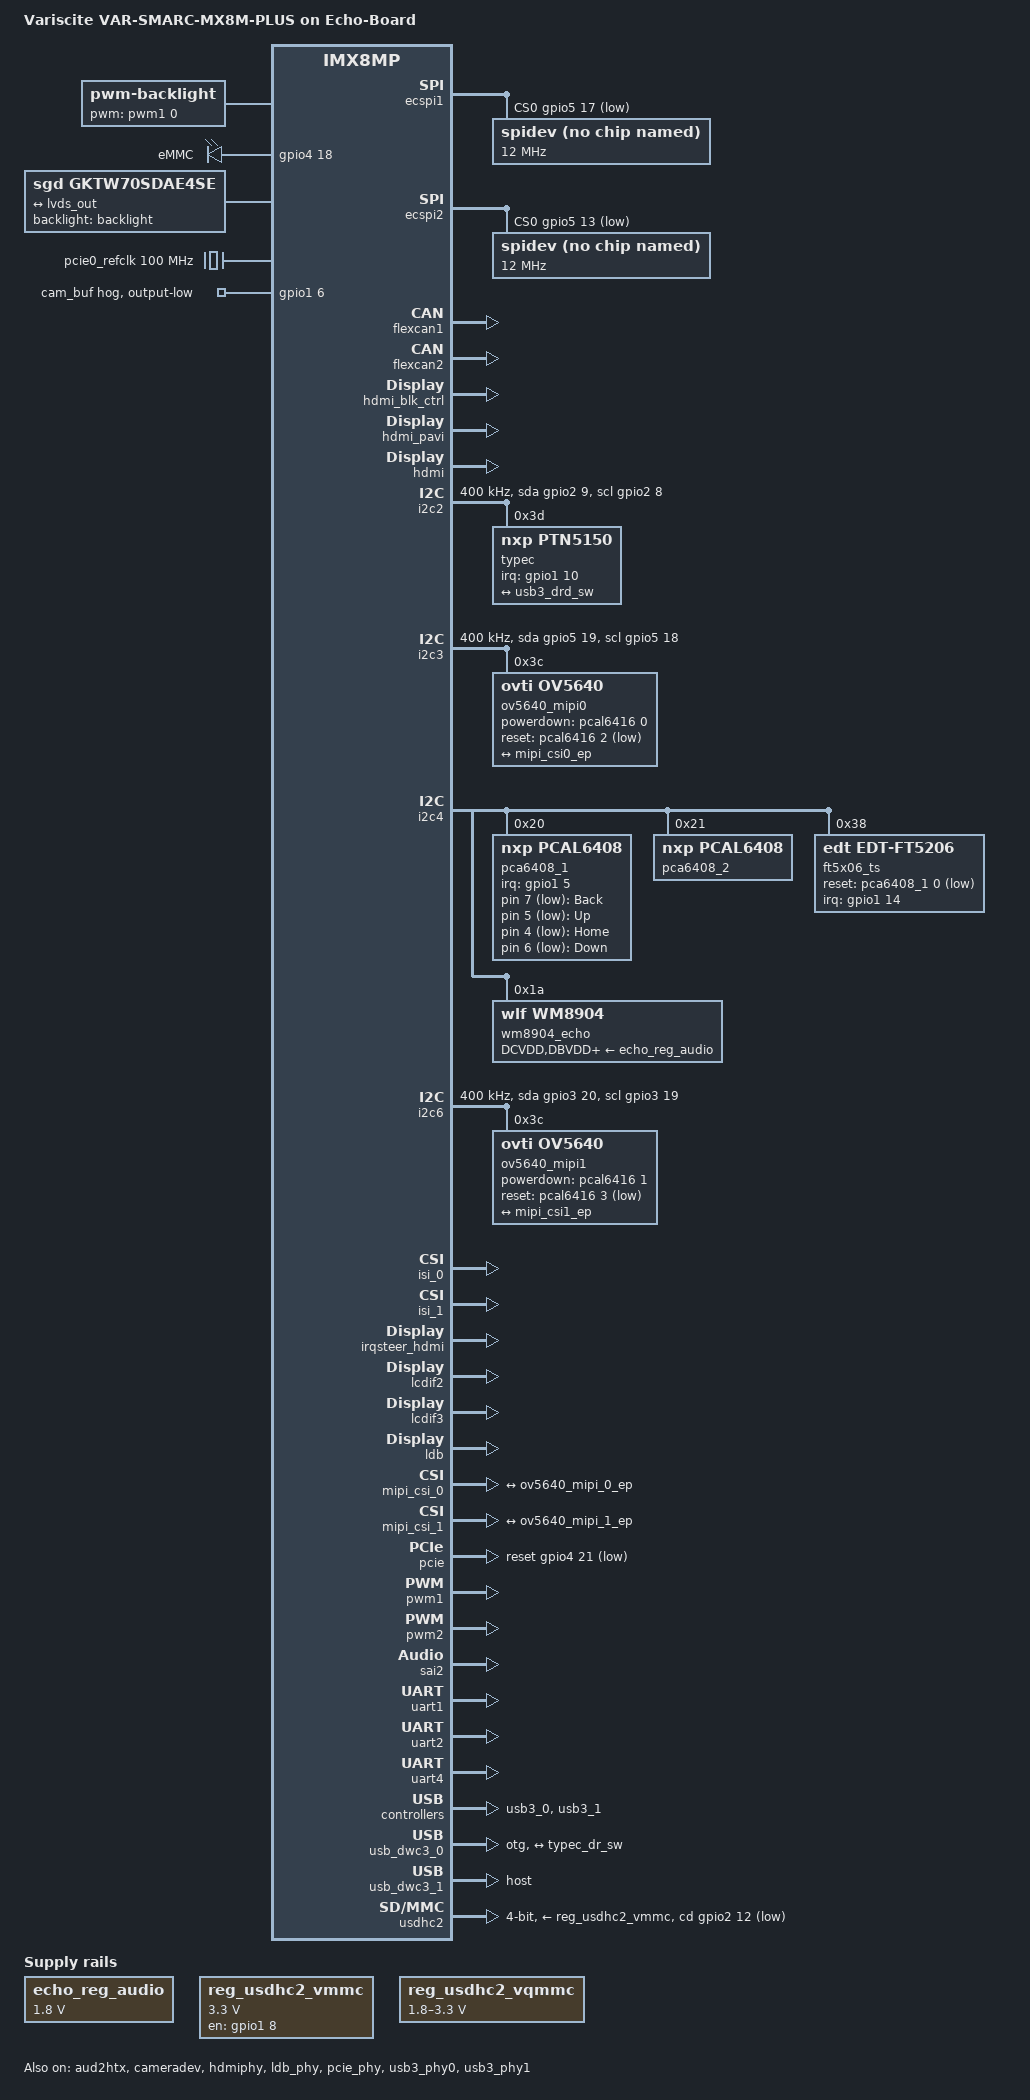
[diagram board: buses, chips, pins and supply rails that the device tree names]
// SPDX-License-Identifier: (GPL-2.0+ OR MIT)
/*
 * Copyright 2019 NXP
 * Copyright 2020-2026 Variscite Ltd.
 */

#include "imx8mp-var-smarc.dtsi"

/ {
	model = "Variscite VAR-SMARC-MX8M-PLUS on Echo-Board";

	chosen {
		stdout-path = &uart2;
	};

	backlight: backlight {
		compatible = "pwm-backlight";
		pwms = <&pwm1 0 1000000 0>;
		status = "okay";

		brightness-levels = < 0  1  2  3  4  5  6  7  8  9
				     10 11 12 13 14 15 16 17 18 19
				     20 21 22 23 24 25 26 27 28 29
				     30 31 32 33 34 35 36 37 38 39
				     40 41 42 43 44 45 46 47 48 49
				     50 51 52 53 54 55 56 57 58 59
				     60 61 62 63 64 65 66 67 68 69
				     70 71 72 73 74 75 76 77 78 79
				     80 81 82 83 84 85 86 87 88 89
				     90 91 92 93 94 95 96 97 98 99
				    100>;
		default-brightness-level = <80>;
	};

	echo_reg_audio: echo-regulator-audio-vdd {
		compatible = "regulator-fixed";
		regulator-name = "wm8904_echo_supply";
		regulator-min-microvolt = <1800000>;
		regulator-max-microvolt = <1800000>;
		regulator-always-on;
	};

	sound-wm8904-echo {
		compatible = "simple-audio-card";
		simple-audio-card,bitclock-master = <&echo_dailink_master>;
		simple-audio-card,format = "i2s";
		simple-audio-card,frame-master = <&echo_dailink_master>;
		simple-audio-card,name = "wm8904-ech-audio";
		simple-audio-card,routing =
			"Headphone Jack", "HPOUTL",
			"Headphone Jack", "HPOUTR",
			"IN2L", "Line In Jack",
			"IN2R", "Line In Jack",
			"IN1L", "Microphone Jack",
			"IN1R", "Microphone Jack";
		simple-audio-card,widgets =
			"Microphone", "Microphone Jack",
			"Headphone", "Headphone Jack",
			"Line", "Line In Jack";
		simple-audio-card,mclk-fs = <256>;

		echo_dailink_master: simple-audio-card,codec {
			sound-dai = <&wm8904_echo>;
		};

		simple-audio-card,cpu {
			sound-dai = <&sai2>;
		};
	};

	gpio-leds {
		compatible = "gpio-leds";
		pinctrl-names = "default";
		pinctrl-0 = <&pinctrl_gpio_leds>;
		status = "okay";

		emmc {
			label = "eMMC";
			gpios = <&gpio4 18 GPIO_ACTIVE_HIGH>;
			linux,default-trigger = "mmc2";
		};
	};

	gpio-keys {
		compatible = "gpio-keys";
		status = "okay";

		back {
			label = "Back";
			linux,code = <KEY_BACK>;
			gpios = <&pca6408_1 7 GPIO_ACTIVE_LOW>;
			wakeup-source;
		};

		up {
			label = "Up";
			linux,code = <KEY_UP>;
			gpios = <&pca6408_1 5 GPIO_ACTIVE_LOW>;
			wakeup-source;
		};

		home {
			label = "Home";
			linux,code = <KEY_HOME>;
			gpios = <&pca6408_1 4 GPIO_ACTIVE_LOW>;
			wakeup-source;
		};

		down {
			label = "Down";
			linux,code = <KEY_DOWN>;
			gpios = <&pca6408_1 6 GPIO_ACTIVE_LOW>;
			wakeup-source;
		};
	};

	panel {
		compatible = "sgd,gktw70sdae4se", "panel-lvds";
		backlight = <&backlight>;
		width-mm = <153>;
		height-mm = <87>;
		label = "gktw70sdae4se";
		data-mapping = "jeida-24";
		status = "okay";

		panel-timing {
			clock-frequency = <33000000>;
			hactive = <800>;
			vactive = <480>;
			hback-porch = <40>;
			hfront-porch = <40>;
			vback-porch = <29>;
			vfront-porch = <13>;
			hsync-len = <48>;
			vsync-len = <3>;
			hsync-active = <0>;
			vsync-active = <0>;
			de-active = <1>;
		};

		port {
			panel_in: endpoint {
				remote-endpoint = <&lvds_out>;
			};
		};
	};

	pcie0_refclk: pcie0-refclk {
		compatible = "fixed-clock";
		#clock-cells = <0>;
		clock-frequency = <100000000>;
	};

	reg_usdhc2_vmmc: regulator-usdhc2-vmmc {
		compatible = "regulator-fixed";
		regulator-name = "VSD_3V3";
		regulator-min-microvolt = <3300000>;
		regulator-max-microvolt = <3300000>;
		gpio = <&gpio1 8 GPIO_ACTIVE_HIGH>;
		enable-active-high;
		startup-delay-us = <100>;
		off-on-delay-us = <12000>;
	};

	reg_usdhc2_vqmmc: regulator-usdhc2-vqmmc {
		compatible = "regulator-gpio";
		regulator-name = "VSD_VSEL";
		regulator-min-microvolt = <1800000>;
		regulator-max-microvolt = <3300000>;
		gpio = <&gpio1 4 GPIO_ACTIVE_HIGH>;
		gpios-states = <1>;
		states = <3300000 0
			  1800000 1>;
	};

	sound_hdmi: sound_hdmi {
		compatible = "fsl,imx-audio-hdmi";
		model = "audio-hdmi";
		audio-cpu = <&aud2htx>;
		hdmi-out;
		constraint-rate = <44100>,
				<88200>,
				<176400>,
				<32000>,
				<48000>,
				<96000>,
				<192000>;
		status = "okay";
	};
};

&aud2htx {
	status = "okay";
};

&cameradev {
	status = "okay";
};

&ecspi1 {
	pinctrl-names = "default";
	pinctrl-0 = <&pinctrl_ecspi1>;
	cs-gpios = <&gpio5 17 GPIO_ACTIVE_LOW>;
	status = "okay";

	spidev@0 {
		compatible = "var,spidev";
		reg = <0>;
		spi-max-frequency = <12000000>;
		status = "okay";
	};
};

&ecspi2 {
	pinctrl-names = "default";
	pinctrl-0 = <&pinctrl_ecspi2>;
	cs-gpios = <&gpio5 13 GPIO_ACTIVE_LOW>;
	status = "okay";

	spidev@0 {
		compatible = "var,spidev";
		reg = <0>;
		spi-max-frequency = <12000000>;
		status = "okay";
	};
};

&gpio1 {
	cam_buf_hog {
		gpio-hog;
		gpios = <6 0>;
		output-low;
		line-name = "cam_buf";
	};
};

&flexcan1 {
	pinctrl-names = "default";
	pinctrl-0 = <&pinctrl_flexcan1>;
	status = "okay";
};

&flexcan2 {
	pinctrl-names = "default";
	pinctrl-0 = <&pinctrl_flexcan2>;
	status = "okay";
};

&flexspi {
	pinctrl-names = "default";
	pinctrl-0 = <&pinctrl_flexspi0>;
	status = "disabled";
};

&hdmi_blk_ctrl {
	status = "okay";
};

&hdmi_pavi {
	status = "okay";
};

&hdmi {
	status = "okay";
};

&hdmiphy {
	status = "okay";
};

&i2c2 {
	clock-frequency = <400000>;
	pinctrl-names = "default", "gpio";
	pinctrl-0 = <&pinctrl_i2c2>;
	pinctrl-1 = <&pinctrl_i2c2_gpio>;
	scl-gpios = <&gpio2 8 GPIO_ACTIVE_HIGH>;
	sda-gpios = <&gpio2 9 GPIO_ACTIVE_HIGH>;
	status = "okay";

	/* USB Type-C Controller */
	typec@3d {
		compatible = "nxp,ptn5150";
		pinctrl-names = "default";
		pinctrl-0 = <&pinctrl_extcon>;
		reg = <0x3d>;
		interrupt-parent = <&gpio1>;
		interrupts = <10 IRQ_TYPE_LEVEL_HIGH>;
		irq-is-id-quirk;
		status ="okay";

		port {
			typec_dr_sw: endpoint {
				remote-endpoint = <&usb3_drd_sw>;
			};
		};
	};
};

&i2c3 {
	clock-frequency = <400000>;
	pinctrl-names = "default", "gpio";
	pinctrl-0 = <&pinctrl_i2c3>;
	pinctrl-1 = <&pinctrl_i2c3_gpio>;
	scl-gpios = <&gpio5 18 GPIO_ACTIVE_HIGH>;
	sda-gpios = <&gpio5 19 GPIO_ACTIVE_HIGH>;
	status = "okay";

	ov5640_mipi0: ov5640_mipi@3c {
		compatible = "ovti,ov5640";
		reg = <0x3c>;
		clocks = <&clk IMX8MP_CLK_IPP_DO_CLKO2>;
		clock-names = "xclk";
/* Disabled CLKO2, since DART-MX8MP camera expansion board uses
 * its own oscillator. Enable CLK02 if your desing requres it
 */
#if 0
		assigned-clocks = <&clk IMX8MP_CLK_IPP_DO_CLKO2>;
		assigned-clock-parents = <&clk IMX8MP_CLK_24M>;
#endif
		assigned-clock-rates = <24000000>;
		powerdown-gpios = <&pcal6416 0 GPIO_ACTIVE_HIGH>;
		reset-gpios = <&pcal6416 2 GPIO_ACTIVE_LOW>;
		status = "okay";

		port {
			ov5640_mipi_0_ep: endpoint {
				remote-endpoint = <&mipi_csi0_ep>;
				data-lanes = <1 2>;
				clock-lanes = <0>;
			};
		};
	};
};

&i2c4 {
	pca6408_1: gpio@20 {
		compatible = "nxp,pcal6408";
		standard-regs-fallback;
		reg = <0x20>;
		gpio-controller;
		#gpio-cells = <2>;
		pinctrl-names = "default";
		pinctrl-0 = <&pinctrl_pca6408>;
		interrupt-parent = <&gpio1>;
		interrupts = <5 IRQ_TYPE_EDGE_FALLING>;
	};

	pca6408_2: gpio@21 {
		compatible = "nxp,pcal6408";
		standard-regs-fallback;
		reg = <0x21>;
		gpio-controller;
		#gpio-cells = <2>;
	};

	/* Capacitive touch controller */
	ft5x06_ts: ft5x06_ts@38 {
		compatible = "edt,edt-ft5206";
		reg = <0x38>;
		pinctrl-names = "default";
		pinctrl-0 = <&pinctrl_captouch>;
		reset-gpios = <&pca6408_1 0 GPIO_ACTIVE_LOW>;
		interrupt-parent = <&gpio1>;
		interrupts = <14 IRQ_TYPE_EDGE_FALLING>;
		touchscreen-size-x = <800>;
		touchscreen-size-y = <480>;
		touchscreen-inverted-x;
		touchscreen-inverted-y;
		wakeup-source;
		status = "okay";
	};

	wm8904_echo: codec@1a {
		compatible = "wlf,wm8904";
		#sound-dai-cells = <0>;
		reg = <0x1a>;
		clocks = <&audio_blk_ctrl IMX8MP_CLK_AUDIOMIX_SAI2_MCLK1>;
		clock-names = "mclk";
		DCVDD-supply = <&echo_reg_audio>;
		DBVDD-supply = <&echo_reg_audio>;
		AVDD-supply = <&echo_reg_audio>;
		CPVDD-supply = <&echo_reg_audio>;
		MICVDD-supply = <&echo_reg_audio>;
		num-drc-cfgs = <5>;
		drc-cfg-names = "default", "peaklimiter", "tradition", "soft", "music";
		drc-cfg-regs =
				/* coded default: KNEE_IP = KNEE_OP = 0, HI_COMP = LO_COMP = 1  */
				<0x01af 0x3248 0x0000 0x0000>,
				/* coded default: KNEE_IP = -24, KNEE_OP = -6, HI_COMP = 1/4, LO_COMP = 1 */
				<0x04af 0x324b 0x0010 0x0408>,
				/* coded default: KNEE_IP = -42, KNEE_OP = -3, HI_COMP = 0, LO_COMP = 1 */
				<0x04af 0x324b 0x0028 0x0704>,
				/* coded default: KNEE_IP = -45, KNEE_OP = -9, HI_COMP = 1/8, LO_COMP = 1 */
				<0x04af 0x324b 0x0018 0x078c>,
				/* coded default: KNEE_IP = -30, KNEE_OP = -10.5, HI_COMP = 1/4, LO_COMP = 1 */
				<0x04af 0x324b 0x0010 0x050e>;
		gpio-cfg = <
			0x0018 /* GPIO1 => DMIC_CLK */
			0xffff /* GPIO2 => don't touch */
			0xffff /* GPIO3 => don't touch */
			0xffff /* GPIO4 => don't touch */
		>;
		status = "okay";
	};
};

&i2c6 {
	clock-frequency = <400000>;
	pinctrl-names = "default", "gpio";
	pinctrl-0 = <&pinctrl_i2c6>;
	pinctrl-1 = <&pinctrl_i2c6_gpio>;
	scl-gpios = <&gpio3 19 GPIO_ACTIVE_HIGH>;
	sda-gpios = <&gpio3 20 GPIO_ACTIVE_HIGH>;
	status = "okay";

	ov5640_mipi1: ov5640_mipi@3c {
		compatible = "ovti,ov5640";
		reg = <0x3c>;
		clocks = <&clk IMX8MP_CLK_IPP_DO_CLKO2>;
		clock-names = "xclk";
/* Disabled CLKO2, since DART-MX8MP camera expansion board uses
 * its own oscillator. Enable CLK02 if your desing requres it
 */
#if 0
		assigned-clocks = <&clk IMX8MP_CLK_IPP_DO_CLKO2>;
		assigned-clock-parents = <&clk IMX8MP_CLK_24M>;
#endif
		assigned-clock-rates = <24000000>;
		powerdown-gpios = <&pcal6416 1 GPIO_ACTIVE_HIGH>;
		reset-gpios = <&pcal6416 3 GPIO_ACTIVE_LOW>;
		status = "okay";

		port {
			ov5640_mipi_1_ep: endpoint {
				remote-endpoint = <&mipi_csi1_ep>;
				data-lanes = <1 2>;
				clock-lanes = <0>;
			};
		};
	};
};

&iomuxc {
	pinctrl-names = "default";
	pinctrl-0 = <&pinctrl_hog>;

	pinctrl_captouch: captouchgrp {
		fsl,pins = <
			MX8MP_IOMUXC_GPIO1_IO14__GPIO1_IO14				0x16
		>;
	};

	pinctrl_ecspi1: ecspi1grp {
		fsl,pins = <
			MX8MP_IOMUXC_I2C1_SCL__ECSPI1_SCLK				0x12
			MX8MP_IOMUXC_I2C1_SDA__ECSPI1_MOSI				0x12
			MX8MP_IOMUXC_I2C2_SCL__ECSPI1_MISO				0x12
			MX8MP_IOMUXC_I2C2_SDA__GPIO5_IO17				0x12
		>;
	};

	pinctrl_ecspi2: ecspi12grp {
		fsl,pins = <
			MX8MP_IOMUXC_ECSPI2_SCLK__ECSPI2_SCLK				0x12
			MX8MP_IOMUXC_ECSPI2_MOSI__ECSPI2_MOSI				0x12
			MX8MP_IOMUXC_ECSPI2_MISO__ECSPI2_MISO				0x12
			MX8MP_IOMUXC_ECSPI2_SS0__GPIO5_IO13				0x12
		>;
	};

	pinctrl_extcon: extcongrp {
		fsl,pins = <
			MX8MP_IOMUXC_GPIO1_IO10__GPIO1_IO10				0x10
		>;
	};

	pinctrl_flexcan2: flexcan2grp {
		fsl,pins = <
			MX8MP_IOMUXC_HDMI_CEC__CAN2_TX					0x154
			MX8MP_IOMUXC_SAI5_MCLK__CAN2_RX					0x154
		>;
	};

	pinctrl_flexcan1: flexcan1grp {
		fsl,pins = <
			MX8MP_IOMUXC_SPDIF_TX__CAN1_TX					0x154
			MX8MP_IOMUXC_SPDIF_RX__CAN1_RX					0x154
		>;
	};

	pinctrl_flexspi0: flexspi0grp {
		fsl,pins = <
			MX8MP_IOMUXC_NAND_ALE__FLEXSPI_A_SCLK				0x1c2
			MX8MP_IOMUXC_NAND_CE0_B__FLEXSPI_A_SS0_B			0x82
			MX8MP_IOMUXC_NAND_DATA00__FLEXSPI_A_DATA00			0x82
			MX8MP_IOMUXC_NAND_DATA01__FLEXSPI_A_DATA01			0x82
			MX8MP_IOMUXC_NAND_DATA02__FLEXSPI_A_DATA02			0x82
			MX8MP_IOMUXC_NAND_DATA03__FLEXSPI_A_DATA03			0x82
		>;
	};

	pinctrl_gpio_leds: ledgrp {
		fsl,pins = <
			MX8MP_IOMUXC_SAI1_TXD6__GPIO4_IO18				0xc6
		>;
	};

	pinctrl_hog: hoggrp {
		fsl,pins = <
			MX8MP_IOMUXC_HDMI_DDC_SCL__HDMIMIX_HDMI_SCL			0x400001c2
			MX8MP_IOMUXC_HDMI_DDC_SDA__HDMIMIX_HDMI_SDA			0x400001c2
			MX8MP_IOMUXC_HDMI_HPD__HDMIMIX_HDMI_HPD				0x40000010
		>;
	};

	pinctrl_i2c3: i2c3grp {
		fsl,pins = <
			MX8MP_IOMUXC_I2C3_SCL__I2C3_SCL					0x400001c2
			MX8MP_IOMUXC_I2C3_SDA__I2C3_SDA					0x400001c2
		>;
	};

	pinctrl_i2c6: i2c6grp {
		fsl,pins = <
			MX8MP_IOMUXC_SAI5_RXFS__I2C6_SCL				0x400001c2
			MX8MP_IOMUXC_SAI5_RXC__I2C6_SDA					0x400001c2
		>;
	};

	pinctrl_i2c2: i2c2grp {
		fsl,pins = <
			MX8MP_IOMUXC_SD1_DATA6__I2C2_SCL				0x400001c2
			MX8MP_IOMUXC_SD1_DATA7__I2C2_SDA				0x400001c2
		>;
	};

	pinctrl_i2c2_gpio: i2c2gpiogrp {
		fsl,pins = <
			MX8MP_IOMUXC_SD1_DATA6__GPIO2_IO08				0x1c2
			MX8MP_IOMUXC_SD1_DATA7__GPIO2_IO09 				0x1c2
		>;
	};

	pinctrl_i2c3_gpio: i2c3gpiogrp {
		fsl,pins = <
			MX8MP_IOMUXC_I2C3_SCL__GPIO5_IO18				0x1c2
			MX8MP_IOMUXC_I2C3_SDA__GPIO5_IO19				0x1c2
		>;
	};

	pinctrl_i2c6_gpio: i2c6gpiogrp {
		fsl,pins = <
			MX8MP_IOMUXC_SAI5_RXFS__GPIO3_IO19				0x1c2
			MX8MP_IOMUXC_SAI5_RXC__GPIO3_IO20				0x1c2
		>;
	};

	pinctrl_pca6408: pca6408grp {
		fsl,pins = <
			MX8MP_IOMUXC_GPIO1_IO05__GPIO1_IO05				0x1c6
		>;
	};

	pinctrl_pcie: pciegrp {
		fsl,pins = <
			MX8MP_IOMUXC_SAI2_RXFS__GPIO4_IO21				0x40
		>;
	};

	pinctrl_pwm1: pwm1grp {
		fsl,pins = <
			MX8MP_IOMUXC_SPDIF_EXT_CLK__PWM1_OUT				0x116
		>;
	};

	pinctrl_pwm2: pwm2grp {
		fsl,pins = <
			MX8MP_IOMUXC_GPIO1_IO11__PWM2_OUT				0x116
		>;
	};

	pinctrl_sai2: sai2grp {
		fsl,pins = <
			MX8MP_IOMUXC_SAI2_TXFS__AUDIOMIX_SAI2_TX_SYNC			0xd6
			MX8MP_IOMUXC_SAI2_TXC__AUDIOMIX_SAI2_TX_BCLK			0xd6
			MX8MP_IOMUXC_SAI2_RXD0__AUDIOMIX_SAI2_RX_DATA00			0xd6
			MX8MP_IOMUXC_SAI2_TXD0__AUDIOMIX_SAI2_TX_DATA00			0xd6
			MX8MP_IOMUXC_SAI2_MCLK__AUDIOMIX_SAI2_MCLK			0xd6
		>;
	};

	pinctrl_uart1: uart1grp {
		fsl,pins = <
			MX8MP_IOMUXC_UART1_RXD__UART1_DCE_RX				0x40
			MX8MP_IOMUXC_UART1_TXD__UART1_DCE_TX				0x40
			MX8MP_IOMUXC_UART3_RXD__UART1_DCE_CTS				0x40
			MX8MP_IOMUXC_UART3_TXD__UART1_DCE_RTS				0x40
		>;
	};

	pinctrl_uart2: uart2grp {
		fsl,pins = <
			MX8MP_IOMUXC_UART2_RXD__UART2_DCE_RX				0x40
			MX8MP_IOMUXC_UART2_TXD__UART2_DCE_TX				0x40
		>;
	};

	pinctrl_uart4: uart4grp {
		fsl,pins = <
			MX8MP_IOMUXC_UART4_RXD__UART4_DCE_RX				0x40
			MX8MP_IOMUXC_UART4_TXD__UART4_DCE_TX				0x40
		>;
	};

	pinctrl_usdhc2_gpio: usdhc2grp-gpio {
		fsl,pins = <
			MX8MP_IOMUXC_SD2_CD_B__GPIO2_IO12				0x10  //card detect
			MX8MP_IOMUXC_GPIO1_IO08__GPIO1_IO08				0x1c4 //power enable
			MX8MP_IOMUXC_GPIO1_IO04__GPIO1_IO04				0xc0  //vselect
		>;
	};

	pinctrl_usdhc2: usdhc2grp {
		fsl,pins = <
			MX8MP_IOMUXC_SD2_CLK__USDHC2_CLK				0x190
			MX8MP_IOMUXC_SD2_CMD__USDHC2_CMD				0x1d0
			MX8MP_IOMUXC_SD2_DATA0__USDHC2_DATA0				0x1d0
			MX8MP_IOMUXC_SD2_DATA1__USDHC2_DATA1				0x1d0
			MX8MP_IOMUXC_SD2_DATA2__USDHC2_DATA2				0x1d0
			MX8MP_IOMUXC_SD2_DATA3__USDHC2_DATA3				0x1d0
		>;
	};

	pinctrl_usdhc2_100mhz: usdhc2grp-100mhz {
		fsl,pins = <
			MX8MP_IOMUXC_SD2_CLK__USDHC2_CLK				0x194
			MX8MP_IOMUXC_SD2_CMD__USDHC2_CMD				0x1d4
			MX8MP_IOMUXC_SD2_DATA0__USDHC2_DATA0				0x1d4
			MX8MP_IOMUXC_SD2_DATA1__USDHC2_DATA1				0x1d4
			MX8MP_IOMUXC_SD2_DATA2__USDHC2_DATA2				0x1d4
			MX8MP_IOMUXC_SD2_DATA3__USDHC2_DATA3				0x1d4
		>;
	};

	pinctrl_usdhc2_200mhz: usdhc2grp-200mhz {
		fsl,pins = <
			MX8MP_IOMUXC_SD2_CLK__USDHC2_CLK				0x196
			MX8MP_IOMUXC_SD2_CMD__USDHC2_CMD				0x1d6
			MX8MP_IOMUXC_SD2_DATA0__USDHC2_DATA0				0x1d6
			MX8MP_IOMUXC_SD2_DATA1__USDHC2_DATA1				0x1d6
			MX8MP_IOMUXC_SD2_DATA2__USDHC2_DATA2				0x1d6
			MX8MP_IOMUXC_SD2_DATA3__USDHC2_DATA3				0x1d6
		>;
	};
};

&isi_0 {
	status = "okay";

	cap_device {
		status = "okay";
	};

	m2m_device {
		status = "okay";
	};
};

&isi_1 {
        status = "okay";

        cap_device {
                status = "okay";
        };
};

&irqsteer_hdmi {
	status = "okay";
};

/* MIPI-DSI */
&lcdif1 {
	status = "disabled";
};

/* LVDS */
&lcdif2 {
	status = "okay";
};

/* HDMI */
&lcdif3 {
	status = "okay";
	thres-low  = <1 2>;	/* (FIFO * 1 / 2) */
	thres-high = <3 4>;	/* (FIFO * 3 / 4) */
};

&ldb {
	status = "okay";

	lvds-channel@0 {
		fsl,data-mapping = "jeida";
		fsl,data-width = <24>;
		status = "okay";

		port@1 {
			reg = <1>;

			lvds_out: endpoint {
				remote-endpoint = <&panel_in>;
			};
		};
	};
};

&ldb_phy {
	status = "okay";
};

&mipi_dsi {
	status = "disabled";
};

&mipi_csi_0 {
	status = "okay";

	port {
		mipi_csi0_ep: endpoint {
			remote-endpoint = <&ov5640_mipi_0_ep>;
			data-lanes = <2>;
			csis-hs-settle = <6>;
			csis-clk-settle = <2>;
			csis-wclk;
		};
	};
};

&mipi_csi_1 {
	#address-cells = <1>;
	#size-cells = <0>;
	status = "okay";

	port@1 {
		reg = <1>;
		mipi_csi1_ep: endpoint {
			remote-endpoint = <&ov5640_mipi_1_ep>;
			data-lanes = <2>;
			csis-hs-settle = <6>;
			csis-clk-settle = <2>;
			csis-wclk;
		};
	};
};

&pcie {
	pinctrl-names = "default";
	pinctrl-0 = <&pinctrl_pcie>;
	reset-gpio = <&gpio4 21 GPIO_ACTIVE_LOW>;
	ext_osc = <1>;
	l1ss-disabled;
	status = "okay";
};

&pcie_phy {
	fsl,refclk-pad-mode = <IMX8_PCIE_REFCLK_PAD_INPUT>;
	clocks = <&pcie0_refclk>;
	clock-names = "ref";
	status = "okay";
};

&pwm1 {
	pinctrl-names = "default";
	pinctrl-0 = <&pinctrl_pwm1>;
	status = "okay";
};

&pwm2 {
	pinctrl-names = "default";
	pinctrl-0 = <&pinctrl_pwm2>;
	status = "okay";
};

&sai2 {
	#sound-dai-cells = <0>;
	pinctrl-names = "default";
	pinctrl-0 = <&pinctrl_sai2>;
	assigned-clocks = <&clk IMX8MP_CLK_SAI2>;
	assigned-clock-parents = <&clk IMX8MP_AUDIO_PLL1_OUT>;
	assigned-clock-rates = <11536000>;
	clocks = <&audio_blk_ctrl IMX8MP_CLK_AUDIOMIX_SAI2_IPG>, <&clk IMX8MP_CLK_DUMMY>,
		 <&audio_blk_ctrl IMX8MP_CLK_AUDIOMIX_SAI2_MCLK1>, <&clk IMX8MP_CLK_DUMMY>,
		 <&clk IMX8MP_CLK_DUMMY>;
	clock-names = "bus", "mclk0", "mclk1", "mclk2", "mclk3";
	fsl,sai-mclk-direction-output;
	status = "okay";
};

/* Header */
&uart1 {
	pinctrl-names = "default";
	pinctrl-0 = <&pinctrl_uart1>;
	status = "okay";
};

/* Console */
&uart2 {
	pinctrl-names = "default";
	pinctrl-0 = <&pinctrl_uart2>;
	status = "okay";
};

/* Header */
&uart4 {
	pinctrl-names = "default";
	pinctrl-0 = <&pinctrl_uart4>;
	status = "okay";
};

&usb3_phy0 {
	fsl,phy-tx-vref-tune = <0xe>;
	fsl,phy-tx-preemp-amp-tune = <3>;
	fsl,phy-tx-vboost-level = <5>;
	fsl,phy-comp-dis-tune = <7>;
	fsl,pcs-tx-deemph-3p5db = <0x21>;
	fsl,phy-pcs-tx-swing-full = <0x7f>;
	status = "okay";
};

&usb3_0 {
	status = "okay";
};

&usb_dwc3_0 {
	dr_mode = "otg";
	hnp-disable;
	srp-disable;
	adp-disable;
	usb-role-switch;
	role-switch-default-mode = "none";
	snps,dis-u1-entry-quirk;
	snps,dis-u2-entry-quirk;
	status = "okay";

	port {
		usb3_drd_sw: endpoint {
			remote-endpoint = <&typec_dr_sw>;
		};
	};
};

&usb3_phy1 {
	fsl,phy-tx-preemp-amp-tune = <3>;
	fsl,phy-tx-vref-tune = <0xb>;
	status = "okay";
};

&usb3_1 {
	status = "okay";
};

&usb_dwc3_1 {
	dr_mode = "host";
	status = "okay";
};

&usdhc2 {
	pinctrl-names = "default", "state_100mhz", "state_200mhz";
	pinctrl-0 = <&pinctrl_usdhc2>, <&pinctrl_usdhc2_gpio>;
	pinctrl-1 = <&pinctrl_usdhc2_100mhz>, <&pinctrl_usdhc2_gpio>;
	pinctrl-2 = <&pinctrl_usdhc2_200mhz>, <&pinctrl_usdhc2_gpio>;
	cd-gpios = <&gpio2 12 GPIO_ACTIVE_LOW>;
	vmmc-supply = <&reg_usdhc2_vmmc>;
	vqmmc-supply = <&reg_usdhc2_vqmmc>;
	bus-width = <4>;
	status = "okay";
};

